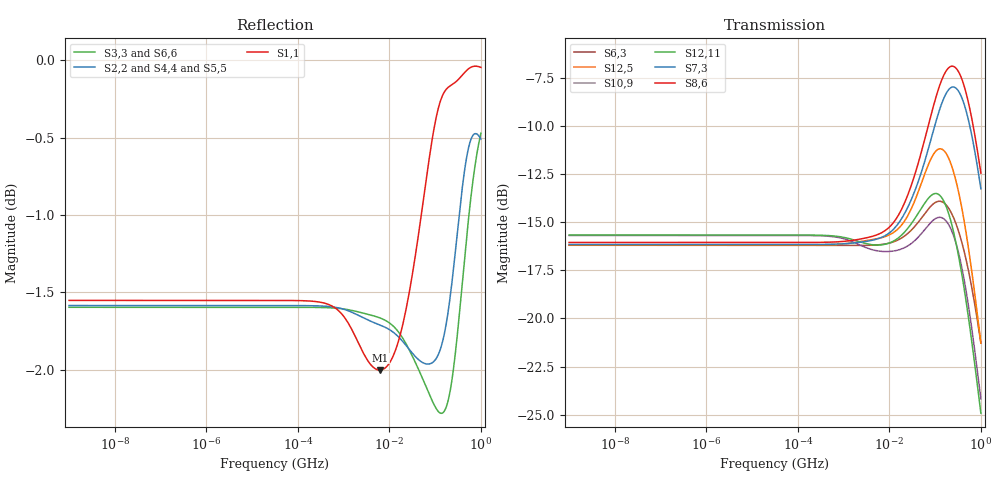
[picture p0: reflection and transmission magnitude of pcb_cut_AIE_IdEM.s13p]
! Touchstone data
! Created: 22-Apr-2025 by IdEM 2023 (2023.0.0)
! COMMENTS
!  Touchstone file exported from Ansys Full-Wave Spice
!  Project: 0000_PSI_S-parameter_Sweep
!  Design: unknown
!  Creation time: Tue Apr 22 09:49:36 2025
!  Notes: ! Touchstone(R) file created by SIwave 2025 R1
!  : ! Touchstone(R) file created on Tue Apr 22 09:49:36 2025
!  Modal data exported
!  Port[1] = PORT_5_L29_SOC_VNPU_Group_U43_GND_Group
!  Port[2] = PORT_6_U1_SOC_VNPU_Group_U1_GRP_1_1_GND
!  Port[3] = SOC_VNPU_C483_1
!  Port[4] = SOC_VNPU_C484_1
!  Port[5] = SOC_VNPU_C486_1
!  Port[6] = SOC_VNPU_C487_1
!  Port[7] = SOC_VNPU_C488_1
!  Port[8] = SOC_VNPU_C489_1
!  Port[9] = SOC_VNPU_C556_1
!  Port[10] = SOC_VNPU_C556_3
!  Port[11] = SOC_VNPU_C558_1
!  Port[12] = SOC_VNPU_C558_3
!  Port[13] = SOC_VNPU_C647_1
! Options Used in IdEM Flow
! Fitting Options !
! Bandwidth: 1.0000e+09 Hz
! Order: [2 2 6]
! SplitType: none
! tol: 1.0000e-03
! DC Point: enforced
! Passivity Options !
! Alg: SOC+HAM
!  Max SOC it: 200
!  Max HAM it: 50
! Freq sampling: adaptive
! DC Point: enforced
! Optimization method: Model based
# Hz S MA R 0.1
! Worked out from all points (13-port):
!   420 points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, 1 Hz to 1 GHz, reference 0.1 ohm
!   strongest paths, dB at 1 Hz, 3.687 kHz, 11.66 MHz, 482.9 MHz, 1 GHz:
!     S8,6: -16.1, -16.1, -15.1, -8.4, -12.5
!     S7,3: -16.2, -16.2, -15.4, -9.3, -13.3
!     S12,11: -15.7, -15.7, -16.0, -19.2, -24.9
!     S10,9: -15.7, -15.7, -16.5, -18.7, -24.2
!     S12,5: -16.2, -16.2, -15.6, -15.7, -21.3
!     S6,3: -16.2, -16.2, -16.0, -17.0, -21.3
!   lowest |S11| = -2.0 dB at 6.31 MHz (marker M1), VSWR 8.72, Z = 0.0122 + j0.0247 ohm
!   |S11| at or under -10 dB: nowhere
